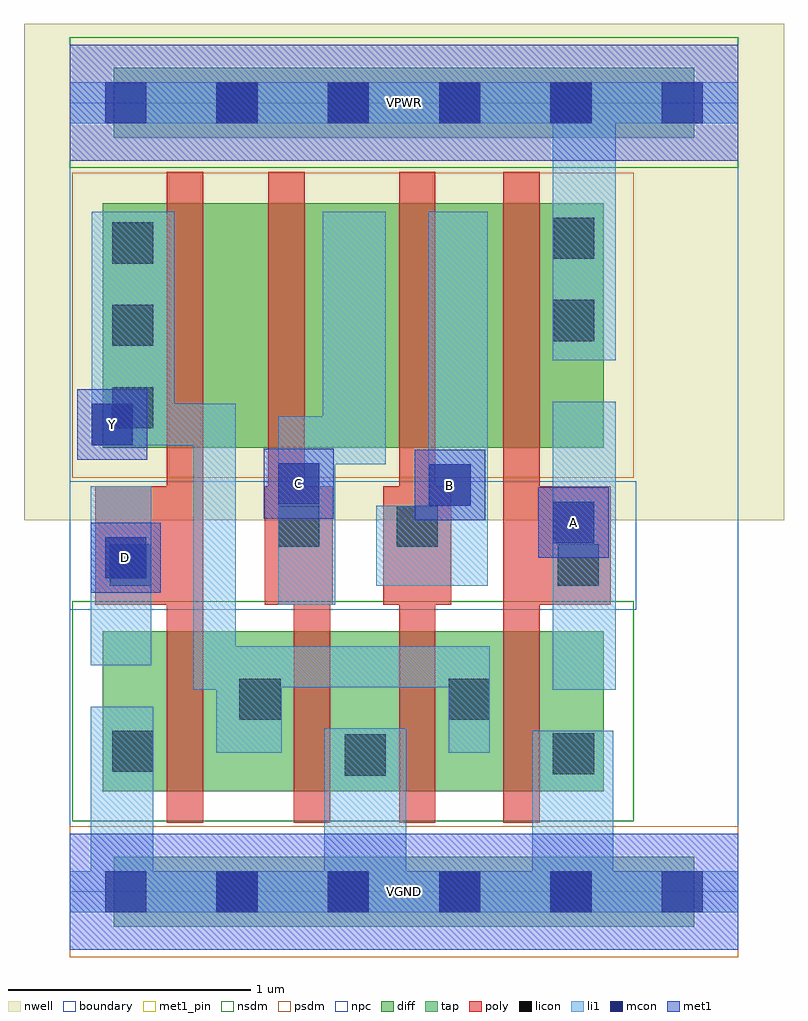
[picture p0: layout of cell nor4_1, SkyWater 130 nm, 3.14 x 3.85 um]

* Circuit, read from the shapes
.subckt nor4_1 A B C D VGND VPWR Y
XM1 Y D VGND VGND sky130_fd_pr__nfet_01v8 w=0.66 l=0.15
XM2 VGND C Y VGND sky130_fd_pr__nfet_01v8 w=0.66 l=0.15
XM3 Y B VGND VGND sky130_fd_pr__nfet_01v8 w=0.66 l=0.15
XM4 VGND A Y VGND sky130_fd_pr__nfet_01v8 w=0.66 l=0.15
XM5 n1 D Y VPWR sky130_fd_pr__pfet_01v8 w=1.01 l=0.15
XM6 n2 C n1 VPWR sky130_fd_pr__pfet_01v8 w=1.01 l=0.15
XM7 n3 B n2 VPWR sky130_fd_pr__pfet_01v8 w=1.01 l=0.15
XM8 VPWR A n3 VPWR sky130_fd_pr__pfet_01v8 w=1.01 l=0.15
.ends

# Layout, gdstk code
import gdstk
lib = gdstk.Library(unit=1e-6, precision=1e-09)
def R(c, l, rs):  # rectangles x0, y0, x1, y1
    for r in rs: c.add(gdstk.rectangle(r[:2], r[2:], *l))
def A(c, l, x, y, w, h, nx, ny, dx, dy):  # array of equal rectangles
    R(c, l, [(x+i*dx, y+j*dy, x+i*dx+w, y+j*dy+h) for i in range(nx) for j in range(ny)])
nwell = (64, 20)
diff = (65, 20)
tap = (65, 44)
poly = (66, 20)
licon = (66, 44)
li1 = (67, 20)
mcon = (67, 44)
met1_pin = (68, 16)
met1 = (68, 20)
nsdm = (93, 44)
psdm = (94, 20)
npc = (95, 20)
boundary = (235, 4)

nor4_1 = lib.new_cell('nor4_1')
R(nor4_1, nwell, [(-0.19,1.535,2.95,3.585), (0,1.535,2.76,3.585)])
R(nor4_1, diff, [(0.135,0.415,2.205,1.075), (0.135,1.835,2.205,2.845)])
R(nor4_1, tap, [(0.18,-0.145,2.58,0.145), (0.18,3.115,2.58,3.405)])
R(nor4_1, poly, [(0.4,0.285,0.55,2.975), (0.925,0.285,1.075,1.675), (1.36,0.285,1.51,2.975), (1.79,0.285,1.94,2.975), (0.105,1.185,0.55,1.675), (0.805,1.185,1.085,1.675), (0.82,1.185,0.97,2.975), (1.295,1.185,1.575,1.675), (1.79,1.185,2.235,1.675)])
A(nor4_1, licon, 0.605, -0.085, 0.17, 0.17, 4, 2, 0.46, 3.26)
A(nor4_1, licon, 0.175, 1.915, 0.17, 0.17, 1, 3, 0, 0.34)
R(nor4_1, licon, [(1.135,0.48,1.305,0.65), (1.995,0.485,2.165,0.655), (0.175,0.495,0.345,0.665), (0.7,0.71,0.87,0.88), (1.565,0.71,1.735,0.88), (0.165,1.265,0.335,1.435), (2.015,1.265,2.185,1.435), (0.86,1.425,1.03,1.595), (1.35,1.425,1.52,1.595), (1.995,2.275,2.165,2.445), (1.995,2.615,2.165,2.785)])
R(nor4_1, li1, [(0,-0.085,2.76,0.085), (0.085,-0.085,0.345,0.765), (1.05,-0.085,1.39,0.675), (1.91,-0.085,2.245,0.665), (0.605,0.575,0.875,1.015), (1.565,0.575,1.735,1.015), (0.51,0.835,0.685,2.015), (1.995,0.835,2.255,2.025), (0.51,0.845,1.735,1.015), (0.085,0.935,0.335,1.675), (0.86,1.185,1.095,1.965), (1.265,1.265,1.725,1.595), (1.48,1.265,1.725,2.81), (1.045,1.765,1.305,2.81), (0.09,1.845,0.43,2.81), (0.09,1.845,0.685,2.015), (1.995,2.195,2.255,3.345), (0,3.175,2.76,3.345)])
A(nor4_1, mcon, 0.145, -0.085, 0.17, 0.17, 6, 2, 0.46, 3.26)
R(nor4_1, mcon, [(0.145,1.295,0.315,1.465), (1.995,1.44,2.165,1.61), (1.485,1.595,1.655,1.765), (0.86,1.6,1.03,1.77), (0.09,1.845,0.26,2.015)])
R(nor4_1, met1_pin, [(0,-0.24,2.76,0.24), (0.085,1.235,0.375,1.525), (1.935,1.38,2.225,1.67), (1.425,1.535,1.715,1.825), (0.8,1.54,1.09,1.83), (0.03,1.785,0.32,2.075), (0,3.02,2.76,3.5)])
R(nor4_1, met1, [(0,-0.24,2.76,0.24), (0.085,1.235,0.375,1.525), (1.935,1.38,2.225,1.67), (1.425,1.535,1.715,1.825), (0.8,1.54,1.09,1.83), (0.03,1.785,0.32,2.075), (0,3.02,2.76,3.5)])
R(nor4_1, nsdm, [(0.01,0.29,2.33,1.2), (0,2.99,2.76,3.53)])
R(nor4_1, psdm, [(0,-0.27,2.76,0.27), (0.01,1.71,2.33,2.97)])
R(nor4_1, npc, [(0,1.165,2.34,1.695)])
R(nor4_1, boundary, [(0,0,2.76,3.26)])
nor4_1.add(gdstk.Label('A', (2.08,1.525), layer=68, texttype=5))
nor4_1.add(gdstk.Label('B', (1.57,1.68), layer=68, texttype=5))
nor4_1.add(gdstk.Label('C', (0.945,1.685), layer=68, texttype=5))
nor4_1.add(gdstk.Label('D', (0.23,1.38), layer=68, texttype=5))
nor4_1.add(gdstk.Label('Y', (0.175,1.93), layer=68, texttype=5))
nor4_1.add(gdstk.Label('VPWR', (1.38,3.26), layer=68, texttype=5))
nor4_1.add(gdstk.Label('VGND', (1.38,0), layer=68, texttype=5))
nor4_1.add(gdstk.Label('A', (2.08,1.525), layer=68, texttype=16))
nor4_1.add(gdstk.Label('B', (1.57,1.68), layer=68, texttype=16))
nor4_1.add(gdstk.Label('C', (0.945,1.685), layer=68, texttype=16))
nor4_1.add(gdstk.Label('D', (0.23,1.38), layer=68, texttype=16))
nor4_1.add(gdstk.Label('Y', (0.175,1.93), layer=68, texttype=16))
nor4_1.add(gdstk.Label('VPWR', (1.38,3.26), layer=68, texttype=16))
nor4_1.add(gdstk.Label('VGND', (1.38,0), layer=68, texttype=16))

lib.write_gds('nor4_1.gds')
